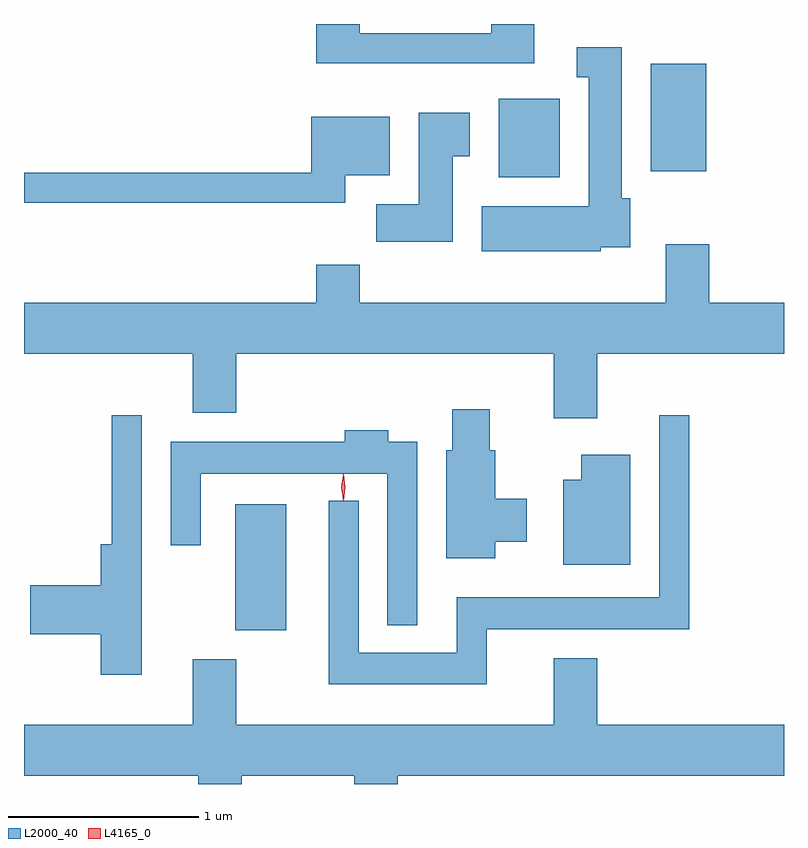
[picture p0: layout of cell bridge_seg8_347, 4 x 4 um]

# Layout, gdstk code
import gdstk
lib = gdstk.Library(unit=1e-6, precision=1e-09)
def R(c, l, rs):  # rectangles x0, y0, x1, y1
    for r in rs: c.add(gdstk.rectangle(r[:2], r[2:], *l))
def P(c, l, *ps):  # polygons
    for p in ps: c.add(gdstk.Polygon(p, *l))
L2000_40 = (2000, 40)
L4165_0 = (4165, 0)

bridge_seg8_347 = lib.new_cell('bridge_seg8_347')
R(bridge_seg8_347, L2000_40, [(726.236,1919.321,726.504,1919.984), (727.621,1921.706,727.944,1922.119), (728.421,1921.736,728.714,1922.304)])
P(bridge_seg8_347, L2000_40, [(727.809,1922.512),(727.581,1922.512),(727.581,1922.464),(726.889,1922.464),(726.889,1922.512),(726.661,1922.512),(726.661,1922.306),(727.809,1922.306)],
  [(728.159,1921.336),(728.314,1921.336),(728.314,1921.594),(728.269,1921.594),(728.269,1922.389),(728.033,1922.389),(728.033,1922.231),(728.096,1922.231),(728.096,1921.554),(727.531,1921.554),(727.531,1921.316),(728.159,1921.316)],
  [(727.379,1921.816),(727.469,1921.816),(727.469,1922.044),(727.201,1922.044),(727.201,1921.564),(726.976,1921.564),(726.976,1921.366),(727.379,1921.366)],
  [(726.814,1921.716),(727.049,1921.716),(727.049,1922.024),(726.636,1922.024),(726.636,1921.729),(725.123,1921.729),(725.123,1921.571),(726.814,1921.571)],
  [(728.139,1920.776),(729.123,1920.776),(729.123,1921.044),(728.729,1921.044),(728.729,1921.354),(728.501,1921.354),(728.501,1921.044),(726.889,1921.044),(726.889,1921.244),(726.661,1921.244),(726.661,1921.044),(725.123,1921.044),(725.123,1920.776),(726.011,1920.776),(726.011,1920.466),(726.239,1920.466),(726.239,1920.776),(727.911,1920.776),(727.911,1920.436),(728.139,1920.436)],
  [(727.604,1919.786),(727.769,1919.786),(727.769,1920.014),(727.604,1920.014),(727.604,1920.269),(727.574,1920.269),(727.574,1920.484),(727.376,1920.484),(727.376,1920.269),(727.346,1920.269),(727.346,1919.701),(727.604,1919.701)],
  [(725.744,1920.453),(725.586,1920.453),(725.586,1919.774),(725.526,1919.774),(725.526,1919.559),(725.156,1919.559),(725.156,1919.301),(725.526,1919.301),(725.526,1919.086),(725.744,1919.086)],
  [(727.559,1919.326),(728.624,1919.326),(728.624,1920.453),(728.466,1920.453),(728.466,1919.494),(727.401,1919.494),(727.401,1919.204),(726.884,1919.204),(726.884,1920.003),(726.726,1920.003),(726.726,1919.036),(727.559,1919.036)],
  [(727.194,1920.314),(727.039,1920.314),(727.039,1920.374),(726.811,1920.374),(726.811,1920.314),(725.896,1920.314),(725.896,1919.768),(726.054,1919.768),(726.054,1920.146),(727.036,1920.146),(727.036,1919.348),(727.194,1919.348)],
  [(728.314,1920.244),(728.056,1920.244),(728.056,1920.114),(727.961,1920.114),(727.961,1919.666),(728.314,1919.666)],
  [(726.011,1918.824),(725.123,1918.824),(725.123,1918.556),(726.041,1918.556),(726.041,1918.512),(726.269,1918.512),(726.269,1918.556),(726.861,1918.556),(726.861,1918.512),(727.089,1918.512),(727.089,1918.556),(729.123,1918.556),(729.123,1918.824),(728.139,1918.824),(728.139,1919.174),(727.911,1919.174),(727.911,1918.824),(726.239,1918.824),(726.239,1919.169),(726.011,1919.169)])
P(bridge_seg8_347, L4165_0, [(726.804,1920.004),(726.795,1920.073),(726.804,1920.142),(726.805,1920.143),(726.806,1920.142),(726.815,1920.073),(726.806,1920.004),(726.805,1920.004)],
  [(726.803,1920.007),(726.803,1920.007),(726.793,1920.074),(726.802,1920.14),(726.803,1920.14),(726.803,1920.14),(726.813,1920.074),(726.804,1920.007)])

lib.write_gds('bridge_seg8_347.gds')
